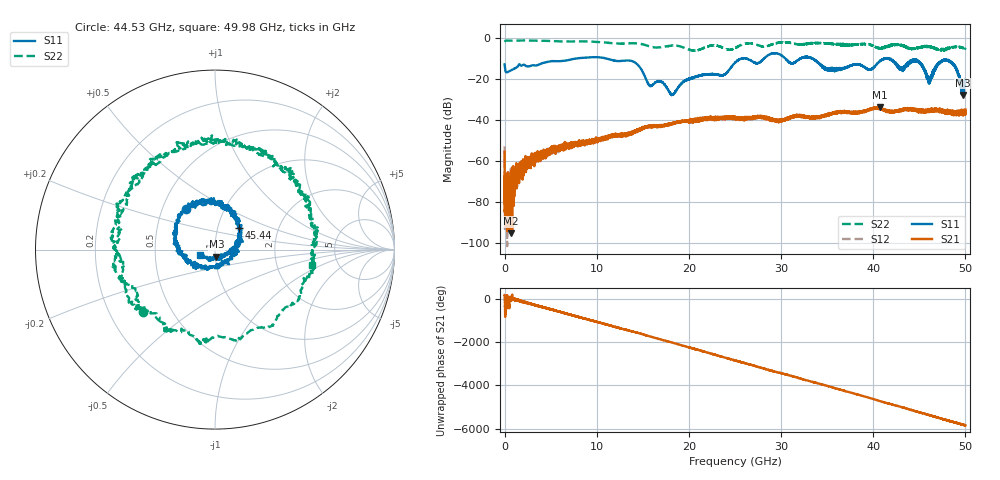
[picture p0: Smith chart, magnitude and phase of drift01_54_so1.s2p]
!Created with skrf (http://scikit-rf.org).
# Hz S RI R 50.0
!freq ReS11 ImS11 ReS21 ImS21 ReS12 ImS12 ReS22 ImS22
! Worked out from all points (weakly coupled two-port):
!   10001 points, 300 kHz to 50 GHz, reference 50 ohm
!   highest |S21| = -33.99 dB at 40.7 GHz (marker M1); lowest = -95.4 dB at 640.3 MHz (marker M2)
!   lowest |S11| = -28.0 dB at 49.7 GHz (marker M3), VSWR 1.08, Z = 50.6 - j3.96 ohm
!   |S11| at or under -10 dB: start of sweep to 8.047 GHz; 10.9 GHz to 25.83 GHz (14.94 GHz wide, 81.3 % of centre); 41.6 GHz to end of sweep (the widest 3 of 18)
!   |S22| runs from -6.5 to -1.4 dB; largest |S21 - S12| = 0.0045
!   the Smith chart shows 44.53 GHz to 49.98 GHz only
!   S11 on the Smith chart (normalised r, x): 44.53 GHz: 0.66, +0.32; 45.44 GHz: 1.26, +0.32; 49.98 GHz: 0.84, -0.05
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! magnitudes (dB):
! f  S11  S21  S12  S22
! 300 kHz  -13.0  -55.6  -53.0  -2.1
! 255.3 MHz  -16.9  -76.6  -73.4  -1.4
! 640.3 MHz  -16.1  -95.4  -82.5  -1.5
! 2.525 GHz  -14.0  -61.4  -60.3  -1.4
! 8.335 GHz  -9.9  -50.3  -51.1  -1.8
! 13.77 GHz  -11.4  -46.4  -46.8  -2.7
! 15.74 GHz  -23.3  -43.1  -43.1  -4.2
! 16.67 GHz  -21.2  -43.2  -43.2  -4.8
! 18.23 GHz  -27.7  -41.9  -41.8  -3.9
! 25 GHz  -12.2  -38.5  -39.3  -5.0
! 33.34 GHz  -10.0  -38.7  -39.1  -2.7
! 35.25 GHz  -15.4  -37.2  -37.2  -2.9
! 40.7 GHz  -11.6  -34.0  -34.5  -5.2
! 41.67 GHz  -10.3  -35.7  -35.8  -4.2
! 43.07 GHz  -15.4  -35.2  -35.4  -3.7
! 44.53 GHz  -11.1  -35.2  -35.1  -5.5
! 45.44 GHz  -14.9  -35.5  -35.8  -4.4
! 46.12 GHz  -20.6  -35.4  -35.7  -4.3
! 48.21 GHz  -11.4  -37.1  -36.9  -5.1
! 49.7 GHz  -28.0  -36.1  -36.2  -4.9
! 49.98 GHz  -20.9  -35.5  -35.9  -5.3
! 50 GHz  -20.9  -35.1  -36.2  -5.3
